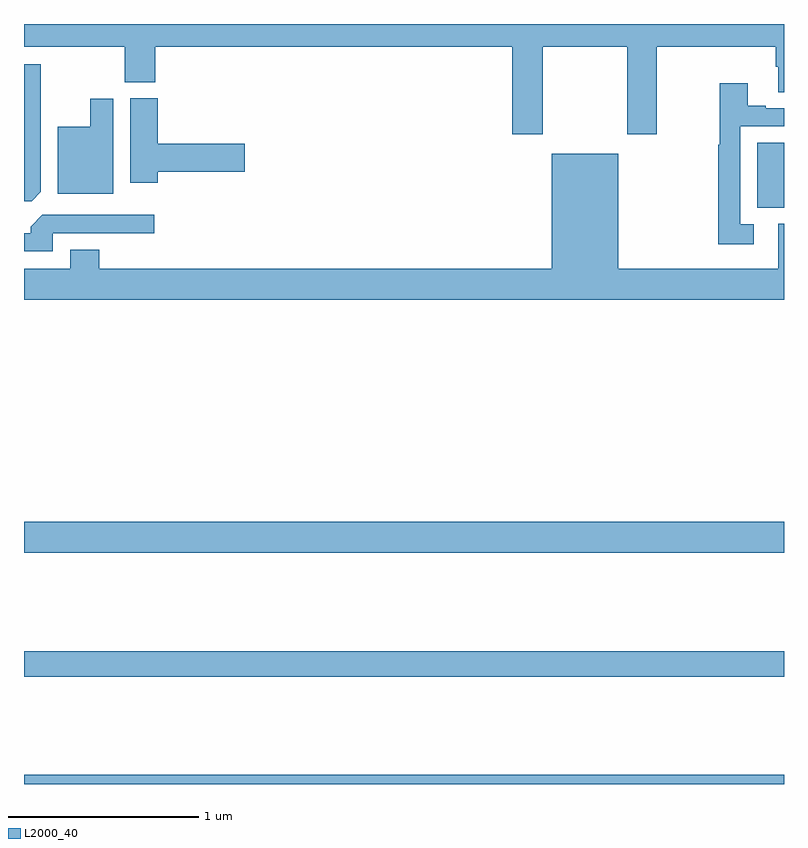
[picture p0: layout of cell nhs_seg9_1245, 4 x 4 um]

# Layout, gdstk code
import gdstk
lib = gdstk.Library(unit=1e-6, precision=1e-09)
def R(c, l, rs):  # rectangles x0, y0, x1, y1
    for r in rs: c.add(gdstk.rectangle(r[:2], r[2:], *l))
def P(c, l, *ps):  # polygons
    for p in ps: c.add(gdstk.Polygon(p, *l))
L2000_40 = (2000, 40)

nhs_seg9_1245 = lib.new_cell('nhs_seg9_1245')
R(nhs_seg9_1245, L2000_40, [(179,1232.5,183,1232.548), (179,1233.064,183,1233.2), (179,1233.716,183,1233.88), (182.858,1235.533,183,1235.876)])
P(nhs_seg9_1245, L2000_40, [(179,1236.38),(179.53,1236.38),(179.53,1236.193),(179.69,1236.193),(179.69,1236.38),(181.571,1236.38),(181.571,1235.919),(181.731,1235.919),(181.731,1236.38),(182.176,1236.38),(182.176,1235.919),(182.331,1235.919),(182.331,1236.38),(182.957,1236.38),(182.957,1236.274),(182.969,1236.274),(182.969,1236.142),(183,1236.142),(183,1236.5),(179,1236.5)],
  [(179.089,1235.617),(179.089,1236.289),(179,1236.289),(179,1235.568),(179.04,1235.568)],
  [(182.842,1235.445),(182.769,1235.445),(182.769,1235.961),(183,1235.961),(183,1236.057),(182.905,1236.057),(182.905,1236.07),(182.809,1236.07),(182.809,1236.187),(182.661,1236.187),(182.661,1235.864),(182.653,1235.864),(182.653,1235.34),(182.842,1235.34)],
  [(179.705,1235.723),(180.163,1235.723),(180.163,1235.87),(179.705,1235.87),(179.705,1236.108),(179.558,1236.108),(179.558,1235.664),(179.705,1235.664)],
  [(179.47,1236.106),(179.348,1236.106),(179.348,1235.959),(179.177,1235.959),(179.177,1235.606),(179.47,1235.606)],
  [(183,1235.448),(182.969,1235.448),(182.969,1235.212),(182.128,1235.212),(182.128,1235.818),(181.778,1235.818),(181.778,1235.212),(179.396,1235.212),(179.396,1235.311),(179.243,1235.311),(179.243,1235.212),(179,1235.212),(179,1235.048),(183,1235.048)],
  [(179.151,1235.4),(179.686,1235.4),(179.686,1235.496),(179.097,1235.496),(179.036,1235.434),(179.036,1235.4),(179,1235.4),(179,1235.304),(179.151,1235.304)])

lib.write_gds('nhs_seg9_1245.gds')
